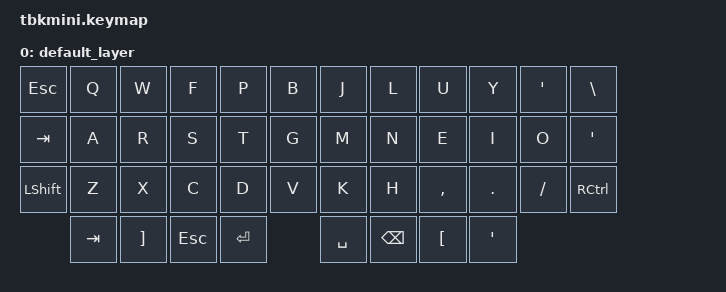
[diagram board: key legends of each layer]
#include <behaviors.dtsi>
#include <dt-bindings/zmk/keys.h>
#include <dt-bindings/zmk/bt.h>

/ {
	keymap {
		compatible = "zmk,keymap";


		default_layer {
// ---------------------------------------------------------------------------------------------------------------------------------
// |  ESC  |  Q  |  W  |  F   |  P   |  B   |    |  J   |  L   |  U  |  Y  |  '  |   \  |
// |  TAB  |  A  |  R  |  S   |  T   |  G   |    |  M   |  N   |  E  |  I  |  O  |   '  |
// | SHIFT |  Z  |  X  |  C   |  D   |  V   |    |  K   |  H   |  ,  |  .  |  /  | CTRL |
//                     | ESC  | SPC  | TAB  |    | RET  | BSPC | DEL |
			bindings = <
	&kp ESC   &kp Q &kp W &kp F &kp P &kp B          &kp J &kp L  &kp U     &kp Y   &kp SQT  &kp BSLH
	&kp TAB   &kp A &kp R &kp S &kp T &kp G          &kp M &kp N  &kp E     &kp I   &kp O    &kp SQT
	&kp LSHFT &kp Z &kp X &kp C &kp D &kp V          &kp K &kp H  &kp COMMA &kp DOT &kp FSLH &kp RCTRL
	          &kp TAB &kp RBKT &kp ESC &kp ENTER    &kp SPACE &kp BSPC &kp LBKT &kp SQT  
			>;
		};
	};
};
